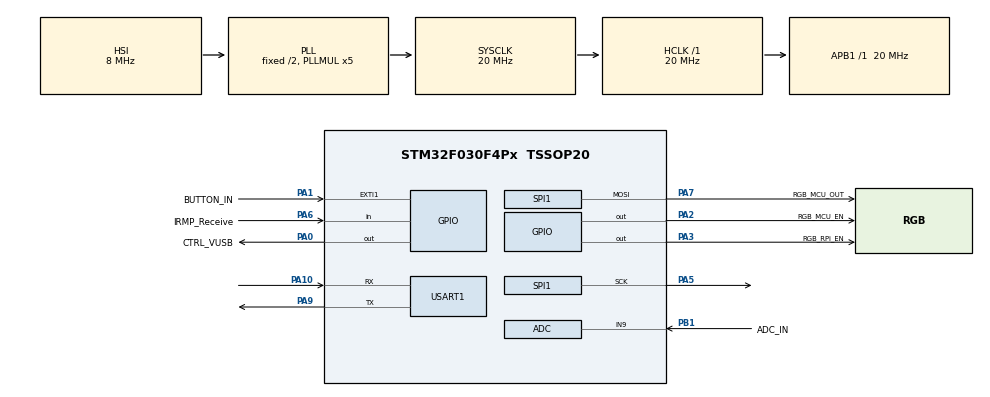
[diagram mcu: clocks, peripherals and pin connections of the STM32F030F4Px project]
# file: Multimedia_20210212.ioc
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Dma.Request0=SPI1_TX
Dma.SPI1_TX.0.Direction=DMA_MEMORY_TO_PERIPH
Dma.SPI1_TX.0.Instance=DMA1_Channel3
Dma.SPI1_TX.0.MemDataAlignment=DMA_MDATAALIGN_BYTE
Dma.SPI1_TX.0.MemInc=DMA_MINC_ENABLE
Dma.SPI1_TX.0.Mode=DMA_NORMAL
Dma.SPI1_TX.0.PeriphDataAlignment=DMA_PDATAALIGN_BYTE
Dma.SPI1_TX.0.PeriphInc=DMA_PINC_DISABLE
Dma.SPI1_TX.0.Priority=DMA_PRIORITY_LOW
Mcu.Family=STM32F0
Mcu.Name=STM32F030F4Px
Mcu.Package=TSSOP20
NVIC.DMA1_Channel2_3_IRQn=true\:0\:0\:false\:false\:true\:false\:true
NVIC.EXTI0_1_IRQn=true\:0\:0\:false\:true\:true\:3\:true\:true
NVIC.TIM14_IRQn=true\:0\:0\:false\:true\:true\:1\:true\:true
NVIC.TIM16_IRQn=true\:0\:0\:false\:false\:true\:true\:true
NVIC.TIM1_BRK_UP_TRG_COM_IRQn=true\:0\:0\:false\:false\:true\:true\:true
NVIC.TIM1_CC_IRQn=true\:0\:0\:false\:true\:true\:4\:true\:true
NVIC.USART1_IRQn=true\:0\:0\:false\:true\:true\:2\:true\:true
PA0.GPIO_Label=CTRL_VUSB
PA0.Signal=GPIO_Output
PA1.GPIO_Label=BUTTON_IN
PA1.GPIO_ModeDefaultEXTI=GPIO_MODE_IT_FALLING
PA1.GPIO_PuPd=GPIO_PULLUP
PA1.Signal=GPXTI1
PA10.Mode=Asynchronous
PA10.Signal=USART1_RX
PA2.GPIO_Label=RGB_MCU_EN
PA2.Signal=GPIO_Output
PA3.GPIO_Label=RGB_RPi_EN
PA3.Signal=GPIO_Output
PA5.Mode=TX_Only_Simplex_Unidirect_Master
PA5.Signal=SPI1_SCK
PA6.GPIO_Label=IRMP_Receive
PA6.Signal=GPIO_Input
PA7.GPIO_Label=RGB_MCU_OUT
PA7.Mode=TX_Only_Simplex_Unidirect_Master
PA7.Signal=SPI1_MOSI
PA9.Mode=Asynchronous
PA9.Signal=USART1_TX
PB1.GPIO_Label=ADC_IN
PB1.Mode=IN9
PB1.Signal=ADC_IN9
ProjectManager.HeapSize=0x200
ProjectManager.StackSize=0x400
ProjectManager.TargetToolchain=STM32CubeIDE
RCC.AHBFreq_Value=20000000
RCC.APB1Freq_Value=20000000
RCC.APB1TimFreq_Value=20000000
RCC.HCLKFreq_Value=20000000
RCC.PLLMUL=RCC_PLL_MUL5
RCC.SYSCLKFreq_VALUE=20000000
RCC.SYSCLKSource=RCC_SYSCLKSOURCE_PLLCLK
SPI1.CalculateBaudRate=10.0 MBits/s
SPI1.DataSize=SPI_DATASIZE_7BIT
SPI1.Direction=SPI_DIRECTION_2LINES
SPI1.Mode=SPI_MODE_MASTER
SPI1.VirtualType=VM_MASTER
TIM1.Period=50
TIM1.Prescaler=32000
TIM14.ClockDivision=TIM_CLOCKDIVISION_DIV2
TIM14.Period=1599
TIM16.Period=63999
TIM16.Prescaler=3124
USART1.VirtualMode-Asynchronous=VM_ASYNC
VP_TIM14_VS_ClockSourceINT.Mode=Enable_Timer
VP_TIM16_VS_ClockSourceINT.Mode=Enable_Timer
VP_TIM1_VS_ClockSourceINT.Mode=Internal
board=custom

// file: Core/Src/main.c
/* USER CODE BEGIN Header */
/**
  ******************************************************************************
  * @file           : main.c
  * @brief          : Main program body
  ******************************************************************************
  * @attention
  *
  * <h2><center>&copy; Copyright (c) 2020 STMicroelectronics.
  * All rights reserved.</center></h2>
  *
  * This software component is licensed by ST under BSD 3-Clause license,
  * the "License"; You may not use this file except in compliance with the
  * License. You may obtain a copy of the License at:
  *                        opensource.org/licenses/BSD-3-Clause
  *
  ******************************************************************************
  */
/************************************************************************************************************************************************************

 MultimediaCase for Raspberry Pi - by Joy-IT
 OpenSource-Firmware published under MIT-License

************************************************************************************************************************************************************

 The following code defines the firmware for the STM32 controller of the RB-MultimediaCase01. The code uses the
 Infrared-Multiprotocoll-Decoder (IRMP - licensed under GNU General Public License v3.0) to recognize IR-remote signals
 and process these. The WS2812B LEDs can be controlled with the STM32 controller or with the Raspberry Pi. The Case Button
 is handled by an interrupt routine.
 The STM32 is mainly used to control the power status of the connected Raspberry Pi. It is able to power the Raspberry Pi via
 the 5 V pins and can send a shutdown-command via serial (which is processed via an addon). After shutdown of the Raspberry Pi
 the STM32 cuts the 5 V supply.
 During the different routines (starting, shutdown, learning) the STM32 takes the control of the 4 WS2812B and displays
 the actual active routine with the help of colors.

 */

/* USER CODE END Header */

#include "main.h"

/* USER CODE BEGIN Includes */
#include "irmp.h"
#include "ws28xx.h"
/* USER CODE END Includes */

/* USER CODE BEGIN PD */
IRMP_DATA irmp_data;
IRMP_DATA irmp_new_data;
IRMP_DATA irmp_temp_data;

PAGEError = 0;
/* USER CODE END PD */

ADC_HandleTypeDef hadc;

SPI_HandleTypeDef hspi1;
DMA_HandleTypeDef hdma_spi1_tx;

TIM_HandleTypeDef htim1;
TIM_HandleTypeDef htim14;
TIM_HandleTypeDef htim16;

UART_HandleTypeDef huart1;

void SystemClock_Config(void);
static void MX_GPIO_Init(void);
static void MX_DMA_Init(void);
static void MX_ADC_Init(void);
static void MX_SPI1_Init(void);
static void MX_TIM14_Init(void);
static void MX_USART1_UART_Init(void);
static void MX_TIM1_Init(void);
static void MX_TIM16_Init(void);
static void MX_NVIC_Init(void);
/* USER CODE BEGIN PFP */
static void RPi_Power_Up();
static void RPi_Power_Down();

static void RGB_RPi();
static void RGB_MCU();

static void WS2812_ChangeColor(ws28xx_Color_TypeDef Color);

static void flashConfig(void);

static void flashValue(uint32_t address, uint32_t data);

static void deactivateIR(void);
static void activateIR(void);

static void learningmode(void);

/* USER CODE END PFP */

int main(void)
{
  /* USER CODE BEGIN 1 */

	/*** Definition of the shutdown message, which is send via the serial interface ***/
	uint8_t shutdownMessage[] = "xxxShutdownRaspberryPixxx\n\r";

	/*** Definition of LED status message ***/
	uint8_t ledStatus[] = "0\n\r";

  /* USER CODE END 1 */

  /* MCU Configuration--------------------------------------------------------*/

  /* Reset of all peripherals, Initializes the Flash interface and the Systick. */
  HAL_Init();

  /* Configure the system clock */
  SystemClock_Config();

  /* Initialize all configured peripherals */
  MX_GPIO_Init();
  MX_DMA_Init();
  MX_ADC_Init();
  MX_SPI1_Init();
  MX_TIM14_Init();
  MX_USART1_UART_Init();
  MX_TIM1_Init();
  MX_TIM16_Init();

  /* Initialize interrupts */
  MX_NVIC_Init();
  /* USER CODE BEGIN 2 */

  /*** Loading IRMP configuration from flash***/
  irmp_data.protocol = *(uint8_t *)irmp_protocol_FlashAdress;
  irmp_data.address = *(uint16_t *)irmp_address_FlashAdress;
  irmp_data.command = *(uint16_t *)irmp_command_FlashAdress;

  /*** Loading LED configuration from flash***/
  ledMode = *(uint8_t *)led_mode_FlashAdress;

  if (ledMode == 0xFF)
  	{
	  ledMode = 0;
  	}

  /*** Initialization of IRMP ***/
  irmp_init();

  /*** STM32 taking the control over WS2812b LEDs and set these to red***/
  RGB_MCU();

  	  //WS2812_ChangeColor(ws28xx_Color_Red);
	  //HAL_Delay(100);
	  WS2812_ChangeColor(ws28xx_Color_Red);

	  if (!(ledMode == 0))
	  {
		  HAL_Delay(100);
		  WS2812_ChangeColor(ws28xx_Color_Black);
	  }

  /*** Making sure, that the Raspberry Pi is powered down ***/
  RPi_Power_Down();

  /* USER CODE END 2 */

  /* Infinite loop */
  /* USER CODE BEGIN WHILE */

  /*** Here starts the infinite loop. This loop manages the power status via button and IR-remote and the learning mode. ***/
  while (1)
  {
    /* USER CODE END WHILE */

    /* USER CODE BEGIN 3 */

	  /*** learning mode check ***/
	  if(!strcmp(Rx_data,"X04\r"))
	  	  {
		  	  strcpy(Rx_data, "    ");
		  	  learningmode();
		  	  activateIR();
	  	  }

	  /*** ledMode: "LM0\r" = normal Mode, "LM1\r" = only startup and shutdown LED, "LM2\r" = no LED (except learning mode)***/
	  if(!strncmp(Rx_data, "LM", 2) && Rx_data[2] >= '0' && Rx_data[2] <= '3' && Rx_data[3] == 13)
	  {
		  RGB_MCU();

		  if(Rx_data[2] == '0')
		  {
			  ledMode = 0;
			  ledStatus[0] = '0';
			  HAL_Delay(100);
			  WS2812_ChangeColor(ws28xx_Color_Green);
		  }

		  else if(Rx_data[2] == '1')
		  {
			  ledMode = 1;
			  ledStatus[0] = '1';
			  HAL_Delay(100);
			  WS2812_ChangeColor(ws28xx_Color_Black);
		  }

		  else if(Rx_data[2] == '2')
		  {
			  ledMode = 2;
			  ledStatus[0] = '2';
			  HAL_Delay(100);
			  WS2812_ChangeColor(ws28xx_Color_Black);
		  }

		  else if(Rx_data[2] == '3')
		  {
			  HAL_UART_Transmit(&huart1, (uint8_t *)ledStatus, sizeof(ledStatus), sizeof(ledStatus));
		  }
		  flashConfig();
		  strcpy(Rx_data, "    ");
		  RGB_RPi();
	  }

	  	  /*** checking for IRMP data or button press ***/
	  	  if (irmp_get_data (&irmp_temp_data) || button > 0)
	  	  	{
	  		  	  __HAL_TIM_DISABLE_IT(&htim14, TIM_IT_UPDATE);
	  		  	  HAL_NVIC_DisableIRQ(EXTI0_1_IRQn);
	  		  	  HAL_Delay(50);

	  		  	  /*** shutdown routine ***/

	  		  	  if (powerUP == 1)
	  		  	  {

		  		  	  if ((((irmp_temp_data.command == irmp_data.command) && (irmp_temp_data.address == irmp_data.address) && (irmp_temp_data.protocol == irmp_data.protocol) )|| (((button > 0)))))
		  		  	  {
		  		  		  memset(&irmp_temp_data, 0, sizeof(IRMP_DATA));
		  		  		  RGB_MCU();
		  		  		  HAL_UART_Transmit(&huart1, (uint8_t *)shutdownMessage, sizeof(shutdownMessage), sizeof(shutdownMessage));
		  		    	  if (ledMode == 2)
		  		    	  {
		  		    		  WS2812_ChangeColor(ws28xx_Color_Red);
		  		    		  HAL_Delay(100);
		  		    	  }

		  		  		  WS2812_ChangeColor(ws28xx_Color_Black);
		  		    	  HAL_Delay(100);
		  		    	  __HAL_TIM_CLEAR_IT(&htim16 ,TIM_IT_UPDATE);
		  		    	  __HAL_TIM_SET_COUNTER(&htim16, 0);
		  		    	  HAL_TIM_Base_Start_IT(&htim16);
		  		    	  timer = shutDownTime;
		  		    	  while(timer > 0)
		  		    		  {
							  	  if (!(ledMode == 2))
							  	  {
							  		  ws28xx_fade(ws28xx_Color_Red);
							  	  }

		  		    		  }

		  		    	  if (ledMode == 0)
		  		    	  {
			  		    	  WS2812_ChangeColor(ws28xx_Color_Red);
		  		    	  }

		  		    	  else
		  		    	  {
		  		    		  ws28xx_fade(ws28xx_Color_Red);
		  		    	  }

		  		  		  HAL_Delay(50);
		  		  		  RPi_Power_Down();
		  		  		  powerUP = 0;
		  		  		  button = 0;

		  		  	  }

					}

	  		  	  else if (powerUP == 0)
					{

						/*** powerup routine ***/

						if ((((irmp_temp_data.command == irmp_data.command) && (irmp_temp_data.address == irmp_data.address) && (irmp_temp_data.protocol == irmp_data.protocol) )||(( (button > 0)))))
						{
							  memset(&irmp_temp_data, 0, sizeof(IRMP_DATA));

							  RPi_Power_Up();
			  		    	  if (ledMode == 2)
			  		    	  {
			  		    		  WS2812_ChangeColor(ws28xx_Color_Green);
			  		    		  HAL_Delay(100);
			  		    	  }
							  WS2812_ChangeColor(ws28xx_Color_Black);
							  HAL_Delay(100);
							  __HAL_TIM_CLEAR_IT(&htim16 ,TIM_IT_UPDATE);
							  __HAL_TIM_SET_COUNTER(&htim16, 0);
							  HAL_TIM_Base_Start_IT(&htim16);
							  timer = bootUpTime;

							  /*** if startup complete "X05/r" is sent via serial interface, the timer is reseted ***/
							  while(timer > 0)
								  {
									  if (!(ledMode == 2))
									  	  {
										  	  ws28xx_fade(ws28xx_Color_Green);
									  	  }

									  if(!strcmp(Rx_data,"X05\r"))
										  {
										  	  strcpy(Rx_data, "    ");
											  timer = 0;
										  }
								  }

							  if (ledMode == 0)
							  {
								  WS2812_ChangeColor(ws28xx_Color_Green);
							  }

							  else
							  {
								  ws28xx_fade(ws28xx_Color_Green);
							  }

							  HAL_Delay(50);

							  RGB_RPi();
							  powerUP = 1;
							  button = 0;

					}
					}

	  		  	__HAL_TIM_ENABLE_IT(&htim14, TIM_IT_UPDATE);

	  		  	__HAL_GPIO_EXTI_CLEAR_FLAG(BUTTON_IN_Pin);
	  		  	__HAL_GPIO_EXTI_CLEAR_IT(BUTTON_IN_Pin);
	  		  	  HAL_NVIC_ClearPendingIRQ(EXTI0_1_IRQn);
	  		  	  HAL_NVIC_EnableIRQ(EXTI0_1_IRQn);
	  		  	  HAL_Delay(50);
	  	  	}

	    }

  /* USER CODE END 3 */
}

void SystemClock_Config(void)
{
  RCC_OscInitTypeDef RCC_OscInitStruct = {0};
  RCC_ClkInitTypeDef RCC_ClkInitStruct = {0};
  RCC_PeriphCLKInitTypeDef PeriphClkInit = {0};

  /** Initializes the CPU, AHB and APB busses clocks
  */
  RCC_OscInitStruct.OscillatorType = RCC_OSCILLATORTYPE_HSI|RCC_OSCILLATORTYPE_HSI14;
  RCC_OscInitStruct.HSIState = RCC_HSI_ON;
  RCC_OscInitStruct.HSI14State = RCC_HSI14_ON;
  RCC_OscInitStruct.HSICalibrationValue = RCC_HSICALIBRATION_DEFAULT;
  RCC_OscInitStruct.HSI14CalibrationValue = 16;
  RCC_OscInitStruct.PLL.PLLState = RCC_PLL_ON;
  RCC_OscInitStruct.PLL.PLLSource = RCC_PLLSOURCE_HSI;
  RCC_OscInitStruct.PLL.PLLMUL = RCC_PLL_MUL5;
  RCC_OscInitStruct.PLL.PREDIV = RCC_PREDIV_DIV1;
  if (HAL_RCC_OscConfig(&RCC_OscInitStruct) != HAL_OK)
  {
    Error_Handler();
  }
  /** Initializes the CPU, AHB and APB busses clocks
  */
  RCC_ClkInitStruct.ClockType = RCC_CLOCKTYPE_HCLK|RCC_CLOCKTYPE_SYSCLK
                              |RCC_CLOCKTYPE_PCLK1;
  RCC_ClkInitStruct.SYSCLKSource = RCC_SYSCLKSOURCE_PLLCLK;
  RCC_ClkInitStruct.AHBCLKDivider = RCC_SYSCLK_DIV1;
  RCC_ClkInitStruct.APB1CLKDivider = RCC_HCLK_DIV1;

  if (HAL_RCC_ClockConfig(&RCC_ClkInitStruct, FLASH_LATENCY_0) != HAL_OK)
  {
    Error_Handler();
  }
  PeriphClkInit.PeriphClockSelection = RCC_PERIPHCLK_USART1;
  PeriphClkInit.Usart1ClockSelection = RCC_USART1CLKSOURCE_PCLK1;
  if (HAL_RCCEx_PeriphCLKConfig(&PeriphClkInit) != HAL_OK)
  {
    Error_Handler();
  }
}

/**
  * @brief NVIC Configuration.
  * @retval None
  */
static void MX_NVIC_Init(void)
{
  /* TIM14_IRQn interrupt configuration */
  HAL_NVIC_SetPriority(TIM14_IRQn, 0, 0);
  HAL_NVIC_EnableIRQ(TIM14_IRQn);
  /* USART1_IRQn interrupt configuration */
  HAL_NVIC_SetPriority(USART1_IRQn, 0, 0);
  HAL_NVIC_EnableIRQ(USART1_IRQn);
  /* EXTI0_1_IRQn interrupt configuration */
  HAL_NVIC_SetPriority(EXTI0_1_IRQn, 0, 0);
  HAL_NVIC_EnableIRQ(EXTI0_1_IRQn);
  /* TIM1_CC_IRQn interrupt configuration */
  HAL_NVIC_SetPriority(TIM1_CC_IRQn, 0, 0);
  HAL_NVIC_EnableIRQ(TIM1_CC_IRQn);
}

static void MX_ADC_Init(void)
{

  ADC_ChannelConfTypeDef sConfig = {0};

  /** Configure the global features of the ADC (Clock, Resolution, Data Alignment and number of conversion)
  */
  hadc.Instance = ADC1;
  hadc.Init.ClockPrescaler = ADC_CLOCK_ASYNC_DIV1;
  hadc.Init.Resolution = ADC_RESOLUTION_12B;
  hadc.Init.DataAlign = ADC_DATAALIGN_RIGHT;
  hadc.Init.ScanConvMode = ADC_SCAN_DIRECTION_FORWARD;
  hadc.Init.EOCSelection = ADC_EOC_SINGLE_CONV;
  hadc.Init.LowPowerAutoWait = DISABLE;
  hadc.Init.LowPowerAutoPowerOff = DISABLE;
  hadc.Init.ContinuousConvMode = DISABLE;
  hadc.Init.DiscontinuousConvMode = DISABLE;
  hadc.Init.ExternalTrigConv = ADC_SOFTWARE_START;
  hadc.Init.ExternalTrigConvEdge = ADC_EXTERNALTRIGCONVEDGE_NONE;
  hadc.Init.DMAContinuousRequests = DISABLE;
  hadc.Init.Overrun = ADC_OVR_DATA_PRESERVED;
  if (HAL_ADC_Init(&hadc) != HAL_OK)
  {
    Error_Handler();
  }
  /** Configure for the selected ADC regular channel to be converted.
  */
  sConfig.Channel = ADC_CHANNEL_9;
  sConfig.Rank = ADC_RANK_CHANNEL_NUMBER;
  sConfig.SamplingTime = ADC_SAMPLETIME_1CYCLE_5;
  if (HAL_ADC_ConfigChannel(&hadc, &sConfig) != HAL_OK)
  {
    Error_Handler();
  }

}

static void MX_SPI1_Init(void)
{

  /* SPI1 parameter configuration*/
  hspi1.Instance = SPI1;
  hspi1.Init.Mode = SPI_MODE_MASTER;
  hspi1.Init.Direction = SPI_DIRECTION_2LINES;
  hspi1.Init.DataSize = SPI_DATASIZE_7BIT;
  hspi1.Init.CLKPolarity = SPI_POLARITY_LOW;
  hspi1.Init.CLKPhase = SPI_PHASE_1EDGE;
  hspi1.Init.NSS = SPI_NSS_SOFT;
  hspi1.Init.BaudRatePrescaler = SPI_BAUDRATEPRESCALER_2;
  hspi1.Init.FirstBit = SPI_FIRSTBIT_MSB;
  hspi1.Init.TIMode = SPI_TIMODE_DISABLE;
  hspi1.Init.CRCCalculation = SPI_CRCCALCULATION_DISABLE;
  hspi1.Init.CRCPolynomial = 7;
  hspi1.Init.CRCLength = SPI_CRC_LENGTH_DATASIZE;
  hspi1.Init.NSSPMode = SPI_NSS_PULSE_ENABLE;
  if (HAL_SPI_Init(&hspi1) != HAL_OK)
  {
    Error_Handler();
  }

}

static void MX_TIM1_Init(void)
{

  TIM_ClockConfigTypeDef sClockSourceConfig = {0};
  TIM_MasterConfigTypeDef sMasterConfig = {0};

  htim1.Instance = TIM1;
  htim1.Init.Prescaler = 32000;
  htim1.Init.CounterMode = TIM_COUNTERMODE_UP;
  htim1.Init.Period = 50;
  htim1.Init.ClockDivision = TIM_CLOCKDIVISION_DIV1;
  htim1.Init.RepetitionCounter = 0;
  htim1.Init.AutoReloadPreload = TIM_AUTORELOAD_PRELOAD_DISABLE;
  if (HAL_TIM_Base_Init(&htim1) != HAL_OK)
  {
    Error_Handler();
  }
  sClockSourceConfig.ClockSource = TIM_CLOCKSOURCE_INTERNAL;
  if (HAL_TIM_ConfigClockSource(&htim1, &sClockSourceConfig) != HAL_OK)
  {
    Error_Handler();
  }
  sMasterConfig.MasterOutputTrigger = TIM_TRGO_RESET;
  sMasterConfig.MasterSlaveMode = TIM_MASTERSLAVEMODE_DISABLE;
  if (HAL_TIMEx_MasterConfigSynchronization(&htim1, &sMasterConfig) != HAL_OK)
  {
    Error_Handler();
  }

}

static void MX_TIM14_Init(void)
{

  htim14.Instance = TIM14;
  htim14.Init.Prescaler = 0;
  htim14.Init.CounterMode = TIM_COUNTERMODE_UP;
  htim14.Init.Period = 1599;
  htim14.Init.ClockDivision = TIM_CLOCKDIVISION_DIV2;
  htim14.Init.AutoReloadPreload = TIM_AUTORELOAD_PRELOAD_DISABLE;
  if (HAL_TIM_Base_Init(&htim14) != HAL_OK)
  {
    Error_Handler();
  }
  /* USER CODE BEGIN TIM14_Init 2 */
  HAL_TIM_Base_Start_IT(&htim14);
  /* USER CODE END TIM14_Init 2 */

}

static void MX_TIM16_Init(void)
{

  htim16.Instance = TIM16;
  htim16.Init.Prescaler = 3124;
  htim16.Init.CounterMode = TIM_COUNTERMODE_UP;
  htim16.Init.Period = 63999;
  htim16.Init.ClockDivision = TIM_CLOCKDIVISION_DIV1;
  htim16.Init.RepetitionCounter = 0;
  htim16.Init.AutoReloadPreload = TIM_AUTORELOAD_PRELOAD_DISABLE;
  if (HAL_TIM_Base_Init(&htim16) != HAL_OK)
  {
    Error_Handler();
  }

}

static void MX_USART1_UART_Init(void)
{

  huart1.Instance = USART1;
  huart1.Init.BaudRate = 38400;
  huart1.Init.WordLength = UART_WORDLENGTH_8B;
  huart1.Init.StopBits = UART_STOPBITS_1;
  huart1.Init.Parity = UART_PARITY_NONE;
  huart1.Init.Mode = UART_MODE_TX_RX;
  huart1.Init.HwFlowCtl = UART_HWCONTROL_NONE;
  huart1.Init.OverSampling = UART_OVERSAMPLING_16;
  huart1.Init.OneBitSampling = UART_ONE_BIT_SAMPLE_DISABLE;
  huart1.AdvancedInit.AdvFeatureInit = UART_ADVFEATURE_NO_INIT;
  if (HAL_UART_Init(&huart1) != HAL_OK)
  {
    Error_Handler();
  }
  /* USER CODE BEGIN USART1_Init 2 */
  HAL_UART_Receive_IT(&huart1, &RxBuffer, 1);
  /* USER CODE END USART1_Init 2 */

}

static void MX_DMA_Init(void)
{

  /* DMA controller clock enable */
  __HAL_RCC_DMA1_CLK_ENABLE();

  /* DMA interrupt init */
  /* DMA1_Channel2_3_IRQn interrupt configuration */
  HAL_NVIC_SetPriority(DMA1_Channel2_3_IRQn, 0, 0);
  HAL_NVIC_EnableIRQ(DMA1_Channel2_3_IRQn);

}

static void MX_GPIO_Init(void)
{
  GPIO_InitTypeDef GPIO_InitStruct = {0};

  /* GPIO Ports Clock Enable */
  __HAL_RCC_GPIOA_CLK_ENABLE();
  __HAL_RCC_GPIOB_CLK_ENABLE();

  /*Configure GPIO pin Output Level */
  HAL_GPIO_WritePin(GPIOA, CTRL_VUSB_Pin|RGB_MCU_EN_Pin|RGB_RPi_EN_Pin, GPIO_PIN_RESET);

  /*Configure GPIO pins : CTRL_VUSB_Pin RGB_MCU_EN_Pin RGB_RPi_EN_Pin */
  GPIO_InitStruct.Pin = CTRL_VUSB_Pin|RGB_MCU_EN_Pin|RGB_RPi_EN_Pin;
  GPIO_InitStruct.Mode = GPIO_MODE_OUTPUT_PP;
  GPIO_InitStruct.Pull = GPIO_NOPULL;
  GPIO_InitStruct.Speed = GPIO_SPEED_FREQ_LOW;
  HAL_GPIO_Init(GPIOA, &GPIO_InitStruct);

  /*Configure GPIO pin : BUTTON_IN_Pin */
  GPIO_InitStruct.Pin = BUTTON_IN_Pin;
  GPIO_InitStruct.Mode = GPIO_MODE_IT_FALLING;
  GPIO_InitStruct.Pull = GPIO_PULLUP;
  HAL_GPIO_Init(BUTTON_IN_GPIO_Port, &GPIO_InitStruct);

  /*Configure GPIO pin : IRMP_Receive_Pin */
  GPIO_InitStruct.Pin = IRMP_Receive_Pin;
  GPIO_InitStruct.Mode = GPIO_MODE_INPUT;
  GPIO_InitStruct.Pull = GPIO_NOPULL;
  HAL_GPIO_Init(IRMP_Receive_GPIO_Port, &GPIO_InitStruct);

}

/* USER CODE BEGIN 4 */

/*** Powering the Raspberry Pi with 5 V ***/

static void RPi_Power_Up()
{
	HAL_GPIO_WritePin(CTRL_VUSB_GPIO_Port, CTRL_VUSB_Pin, GPIO_PIN_SET);
}

/*** Cutting 5 V supply of Rasperry Pi***/

static void RPi_Power_Down()
{
	HAL_GPIO_WritePin(CTRL_VUSB_GPIO_Port, CTRL_VUSB_Pin, GPIO_PIN_RESET);
}

/*** Raspberry Pi has control over RGB LEDs ***/

static void RGB_RPi()
{
	HAL_GPIO_WritePin(RGB_MCU_EN_GPIO_Port, RGB_MCU_EN_Pin, GPIO_PIN_SET);
	HAL_GPIO_WritePin(RGB_RPi_EN_GPIO_Port, RGB_RPi_EN_Pin, GPIO_PIN_RESET);
}

/*** STM32 takes the control of the RGB LEDs ***/

static void RGB_MCU()
{
	HAL_GPIO_WritePin(RGB_MCU_EN_GPIO_Port, RGB_MCU_EN_Pin, GPIO_PIN_RESET);
	HAL_GPIO_WritePin(RGB_RPi_EN_GPIO_Port, RGB_RPi_EN_Pin, GPIO_PIN_SET);
}

/*** Controls all LEDs at once ***/

static void WS2812_ChangeColor(ws28xx_Color_TypeDef Color)
{
	  ws28xx_SetColor(0, Color);
	  ws28xx_SetColor(1, Color);
	  ws28xx_SetColor(2, Color);
	  ws28xx_SetColor(3, Color);
	  ws28xx_Update();
}

/*** Writes the IRMP config into flash ***/

static void flashConfig(void)
{
	FLASH_EraseInitTypeDef EraseInitStruct;

	HAL_FLASH_Unlock();
	EraseInitStruct.TypeErase   = FLASH_TYPEERASE_PAGES;
	EraseInitStruct.PageAddress = 0x8007C00;
	EraseInitStruct.NbPages     = 1;

	 if (HAL_FLASHEx_Erase(&EraseInitStruct, &PAGEError) != HAL_OK)
	  {
	    /*
	      Error occurred while page erase.
	      User can add here some code to deal with this error.
	      PAGEError will contain the faulty page and then to know the code error on this page,
	      user can call function 'HAL_FLASH_GetError()'
	    */
	    /* Infinite loop */
	  }

	  flashValue(irmp_protocol_FlashAdress,irmp_new_data.protocol);
	  flashValue(irmp_address_FlashAdress,irmp_new_data.address);
	  flashValue(irmp_command_FlashAdress,irmp_new_data.command);

	  flashValue(led_mode_FlashAdress,ledMode);

	HAL_FLASH_Lock();

}

static void flashValue(uint32_t address, uint32_t data)
{
	 if (HAL_FLASH_Program(FLASH_TYPEPROGRAM_WORD, address , data) != HAL_OK)
	  {
	    /*
	      Error occurred while page erase.
	      User can add here some code to deal with this error.
	      PAGEError will contain the faulty page and then to know the code error on this page,
	      user can call function 'HAL_FLASH_GetError()'
	    */
	  }
}

/*** Function to deactivate the timer of the IR sensor ***/

static void deactivateIR()
{
	HAL_TIM_Base_Stop(&htim14);
}

/*** Function to activate the timer of the IR sensor ***/

static void activateIR()
{
	__HAL_TIM_CLEAR_IT(&htim14, TIM_IT_UPDATE);
	HAL_TIM_Base_Start_IT(&htim14);
	__HAL_TIM_SET_COUNTER(&htim14, 0);
}

/*** Function for learning a new IR-remote ***/

static void learningmode()
{
	  uint8_t learningMode_on;

	  learningMode_on = 0;
	  RGB_MCU();
	  while (learningMode_on < 3)
	  {

		WS2812_ChangeColor(ws28xx_Color_Blue);
		HAL_Delay(300);
	  	WS2812_ChangeColor(ws28xx_Color_Orange);
		HAL_Delay(300);

		  /*** fetching IR data ***/
		  if(irmp_get_data (&irmp_temp_data))
	  	  	{
			  deactivateIR();
			  /*** checking IR repetition ***/
			  if(!(irmp_temp_data.flags & IRMP_FLAG_REPETITION))
			  {
	  		  	  WS2812_ChangeColor(ws28xx_Color_Black);
	  		  	  HAL_Delay(500);
	  		  	  if (learningMode_on == 0)
	  		  	  {
	  		  		  irmp_new_data = irmp_temp_data;
	  		  		  learningMode_on++;
	  		  		  WS2812_ChangeColor(ws28xx_Color_White);

		  			  HAL_Delay(350);
		  			  WS2812_ChangeColor(ws28xx_Color_Black);

		  			  HAL_Delay(350);
	  		  	  }
	  		  	  else
	  		  	  {
	  		  		  if (irmp_new_data.command == irmp_temp_data.command)
	  		  		  {
	  		  			irmp_new_data = irmp_temp_data;
	  		  			learningMode_on++;
	  		  			  WS2812_ChangeColor(ws28xx_Color_White);

	  		  			  HAL_Delay(350);
	  		  			  WS2812_ChangeColor(ws28xx_Color_Black);

	  		  			  HAL_Delay(350);
	  		  		  }
	  		  		  else
	  		  		  {
	  		  			WS2812_ChangeColor(ws28xx_Color_Red);

	  		  			  HAL_Delay(500);
	  		  			WS2812_ChangeColor(ws28xx_Color_Black);

	  		  			  HAL_Delay(350);
	  		  			  learningMode_on = 0;
	  		  		  }
	  		  	  }

	  		  	if (ledMode == 0)
	  		  	{
	  		  		WS2812_ChangeColor(ws28xx_Color_Green);
	  		  	}

	  		  	else
	  		  	{
	  		  	WS2812_ChangeColor(ws28xx_Color_Green);
	  		  	HAL_Delay(500);
	  		  	WS2812_ChangeColor(ws28xx_Color_Black);
	  		  	}
	  		  	irmp_data = irmp_temp_data;
	  		  	memset(&irmp_temp_data, 0, sizeof(IRMP_DATA));
	  	  	}
			activateIR();
	  	  }
	  }
	deactivateIR();
	flashConfig();
	HAL_Delay(2000);
	RGB_RPi();
	memset(&irmp_temp_data, 0, sizeof(IRMP_DATA));
}

void setButtonPressed()
{
	button = 1;
}

void setTimerReset()
{
	if (timer <= 0)
	{
		HAL_TIM_Base_Stop_IT(&htim16);
	}

	timer--;
}

/* USER CODE END 4 */

void Error_Handler(void)
{
}

/************************ (C) COPYRIGHT STMicroelectronics *****END OF FILE****/
